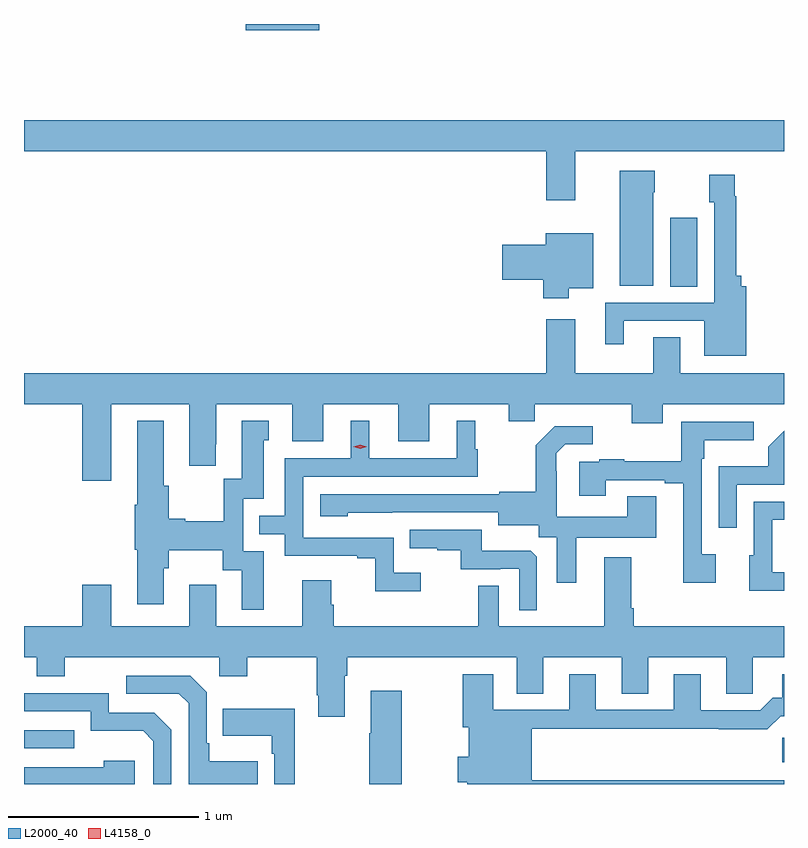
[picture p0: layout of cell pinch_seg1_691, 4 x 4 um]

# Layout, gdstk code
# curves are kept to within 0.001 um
import gdstk
lib = gdstk.Library(unit=1e-6, precision=1e-09)
def R(c, l, rs):  # rectangles x0, y0, x1, y1
    for r in rs: c.add(gdstk.rectangle(r[:2], r[2:], *l))
def P(c, l, *ps):  # polygons
    for p in ps: c.add(gdstk.Polygon(p, *l))
L2000_40 = (2000, 40)
L4158_0 = (4158, 0)

pinch_seg1_691 = lib.new_cell('pinch_seg1_691')
R(pinch_seg1_691, L2000_40, [(750.468,552.512,750.476,552.641), (746.476,552.585,746.741,552.681), (749.876,555.016,750.019,555.379), (747.642,556.366,748.03,556.398)])
P(pinch_seg1_691, L2000_40, [(749.377,555.728),(750.476,555.728),(750.476,555.892),(746.476,555.892),(746.476,555.728),(749.225,555.728),(749.225,555.471),(749.377,555.471)],
  [(749.788,555.512),(749.796,555.512),(749.796,555.625),(749.612,555.625),(749.612,555.02),(749.788,555.02)],
  [(750.278,555.018),(750.251,555.018),(750.251,555.073),(750.224,555.073),(750.224,555.491),(750.217,555.491),(750.217,555.604),(750.082,555.604),(750.082,555.459),(750.108,555.459),(750.108,554.931),(749.534,554.931),(749.534,554.712),(749.632,554.712),(749.632,554.835),(750.056,554.835),(750.056,554.651),(750.278,554.651)],
  [(749.344,555.008),(749.473,555.008),(749.473,555.298),(749.222,555.298),(749.222,555.236),(748.992,555.236),(748.992,555.053),(749.21,555.053),(749.21,554.954),(749.344,554.954)],
  [(746.935,554.396),(747.347,554.396),(747.347,554.073),(747.484,554.073),(747.484,554.185),(747.487,554.185),(747.487,554.396),(747.887,554.396),(747.887,554.202),(748.051,554.202),(748.051,554.396),(748.445,554.396),(748.445,554.202),(748.609,554.202),(748.609,554.396),(749.027,554.396),(749.027,554.306),(749.165,554.306),(749.165,554.396),(749.675,554.396),(749.675,554.297),(749.839,554.297),(749.839,554.396),(750.476,554.396),(750.476,554.56),(749.929,554.56),(749.929,554.75),(749.789,554.75),(749.789,554.56),(749.377,554.56),(749.377,554.845),(749.225,554.845),(749.225,554.56),(746.476,554.56),(746.476,554.396),(746.783,554.396),(746.783,553.995),(746.935,553.995)],
  [(747.739,553.623),(747.63,553.623),(747.63,553.899),(747.739,553.899),(747.739,554.208),(747.763,554.208),(747.763,554.311),(747.623,554.311),(747.623,554.004),(747.527,554.004),(747.527,553.78),(747.325,553.78),(747.325,553.793),(747.237,553.793),(747.237,553.969),(747.211,553.969),(747.211,554.311),(747.071,554.311),(747.071,553.869),(747.059,553.869),(747.059,553.632),(747.071,553.632),(747.071,553.344),(747.211,553.344),(747.211,553.533),(747.237,553.533),(747.237,553.628),(747.522,553.628),(747.522,553.522),(747.623,553.522),(747.623,553.314),(747.739,553.314)],
  [(748.564,553.51),(748.422,553.51),(748.422,553.695),(747.945,553.695),(747.945,554.016),(748.864,554.016),(748.864,554.16),(748.852,554.16),(748.852,554.311),(748.754,554.311),(748.754,554.112),(748.294,554.112),(748.294,554.311),(748.196,554.311),(748.196,554.112),(747.849,554.112),(747.849,553.809),(747.715,553.809),(747.715,553.713),(747.849,553.713),(747.849,553.599),(748.229,553.599),(748.229,553.587),(748.324,553.587),(748.324,553.412),(748.564,553.412)],
  [(750.118,553.606),(750.042,553.606),(750.042,554.111),(750.055,554.111),(750.055,554.207),(750.316,554.207),(750.316,554.304),(749.934,554.304),(749.934,554.096),(749.635,554.096),(749.635,554.107),(749.503,554.107),(749.503,554.094),(749.399,554.094),(749.399,553.914),(749.539,553.914),(749.539,553.998),(749.849,553.998),(749.849,553.98),(749.945,553.98),(749.945,553.458),(750.118,553.458)],
  [(749.383,553.694),(749.803,553.694),(749.803,553.913),(749.651,553.913),(749.651,553.804),(749.28,553.804),(749.28,554.045),(749.278,554.045),(749.278,554.14),(749.325,554.187),(749.47,554.187),(749.47,554.281),(749.269,554.281),(749.169,554.181),(749.169,553.936),(748.977,553.936),(748.977,553.923),(748.035,553.923),(748.035,553.808),(748.179,553.808),(748.179,553.826),(748.973,553.827),(748.973,553.76),(749.184,553.76),(749.184,553.696),(749.279,553.696),(749.279,553.458),(749.383,553.458)],
  [(750.228,553.974),(750.476,553.974),(750.476,554.256),(750.394,554.174),(750.394,554.071),(750.132,554.071),(750.132,553.746),(750.228,553.746)],
  [(750.476,553.512),(750.414,553.512),(750.414,553.788),(750.476,553.788),(750.476,553.884),(750.318,553.884),(750.318,553.602),(750.293,553.602),(750.293,553.415),(750.476,553.415)],
  [(749.175,553.593),(749.143,553.625),(748.885,553.625),(748.885,553.737),(748.507,553.737),(748.507,553.64),(748.651,553.64),(748.651,553.629),(748.775,553.629),(748.775,553.527),(748.982,553.527),(748.982,553.53),(749.082,553.53),(749.082,553.313),(749.175,553.313)],
  [(748.165,552.968),(748.178,552.968),(748.178,553.064),(749.069,553.064),(749.069,552.874),(749.209,552.874),(749.209,553.064),(749.621,553.064),(749.621,552.874),(749.761,552.874),(749.761,553.064),(750.173,553.064),(750.173,552.874),(750.312,552.874),(750.312,553.064),(750.476,553.064),(750.476,553.228),(749.684,553.228),(749.684,553.324),(749.671,553.324),(749.671,553.591),(749.531,553.591),(749.531,553.228),(748.974,553.228),(748.974,553.442),(748.866,553.442),(748.866,553.228),(748.106,553.228),(748.106,553.341),(748.093,553.341),(748.093,553.471),(747.941,553.471),(747.941,553.228),(747.487,553.228),(747.487,553.447),(747.347,553.447),(747.347,553.228),(746.935,553.228),(746.935,553.447),(746.783,553.447),(746.783,553.228),(746.476,553.228),(746.476,553.064),(746.543,553.064),(746.543,552.965),(746.691,552.965),(746.691,553.064),(747.504,553.064),(747.504,552.965),(747.651,552.965),(747.651,553.064),(748.018,553.064),(748.018,552.865),(748.025,552.865),(748.025,552.753),(748.165,552.753)],
  [(750.476,552.418),(749.149,552.418),(749.149,552.688),(750.133,552.688),(750.133,552.686),(750.389,552.686),(750.458,552.755),(750.476,552.755),(750.476,552.976),(750.467,552.976),(750.467,552.853),(750.418,552.853),(750.351,552.786),(750.037,552.786),(750.037,552.976),(749.897,552.976),(749.897,552.789),(749.485,552.789),(749.485,552.976),(749.345,552.976),(749.345,552.789),(748.945,552.789),(748.945,552.976),(748.786,552.976),(748.786,552.696),(748.817,552.696),(748.817,552.541),(748.76,552.541),(748.76,552.407),(748.81,552.407),(748.81,552.398),(750.476,552.398)],
  [(747.707,552.517),(747.451,552.517),(747.451,552.613),(747.438,552.613),(747.438,552.882),(747.351,552.969),(747.015,552.969),(747.015,552.873),(747.291,552.873),(747.342,552.822),(747.342,552.398),(747.707,552.398)],
  [(748.464,552.889),(748.301,552.889),(748.301,552.665),(748.294,552.665),(748.294,552.398),(748.464,552.398)],
  [(747.252,552.684),(747.162,552.774),(746.922,552.774),(746.922,552.876),(746.476,552.876),(746.476,552.78),(746.826,552.78),(746.826,552.677),(747.103,552.677),(747.156,552.624),(747.156,552.398),(747.252,552.398)],
  [(747.901,552.793),(747.523,552.793),(747.523,552.653),(747.78,552.653),(747.78,552.557),(747.792,552.557),(747.792,552.398),(747.901,552.398)],
  [(747.058,552.52),(746.897,552.52),(746.897,552.486),(746.476,552.486),(746.476,552.398),(747.058,552.398)])
P(pinch_seg1_691, L4158_0, [(748.245,554.163),(748.21,554.173),(748.209,554.173),(748.21,554.174),(748.245,554.183),(748.28,554.174),(748.281,554.173),(748.28,554.173)])

lib.write_gds('pinch_seg1_691.gds')
